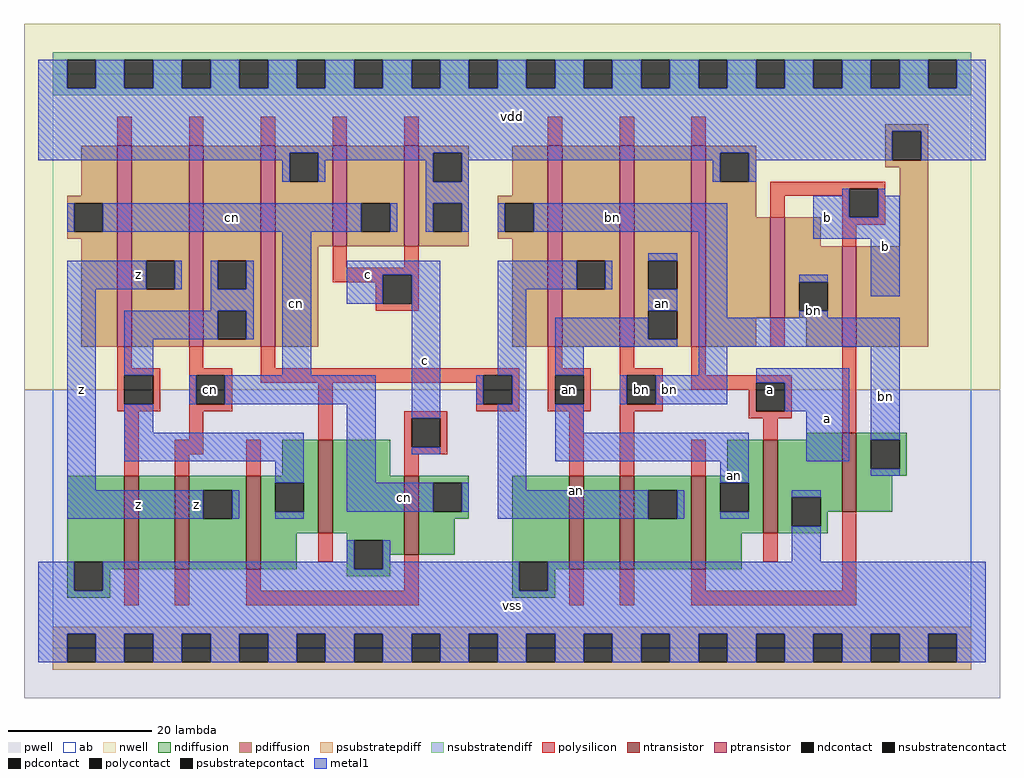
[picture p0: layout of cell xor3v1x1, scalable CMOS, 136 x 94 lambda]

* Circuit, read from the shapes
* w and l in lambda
.subckt xor3v1x1 a an b bn c cn vdd vss z
M1 n1 n2 vss vss nfet w=13 l=2
M2 z cn n1 vss nfet w=13 l=2
M3 n2 c z vss nfet w=13 l=2
M4 vss n3 n2 vss nfet w=13 l=2
M5 cn c vss vss nfet w=11 l=2
M6 n4 an vss vss nfet w=13 l=2
M7 n3 bn n4 vss nfet w=13 l=2
M8 an b n3 vss nfet w=13 l=2
M9 vss a an vss nfet w=13 l=2
M10 bn b vss vss nfet w=11 l=2
M11 z n2 cn vdd pfet w=28 l=2
M12 n2 cn z vdd pfet w=28 l=2
M13 vdd n3 n2 vdd pfet w=28 l=2
M14 cn c vdd vdd pfet w=14 l=2 m=2
M15 n3 an bn vdd pfet w=28 l=2
M16 an bn n3 vdd pfet w=28 l=2
M17 vdd a an vdd pfet w=28 l=2
M18 bn b vdd vdd pfet w=14 l=2 m=2
.ends

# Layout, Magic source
magic
tech scmos
<< ab >>
rect 0 0 128 80
<< pwell >>
rect -4 -7 132 36
<< nwell >>
rect -4 36 132 87
<< polysilicon >>
rect 9 70 11 74
rect 19 70 21 74
rect 29 70 31 74
rect 39 70 41 74
rect 49 70 51 74
rect 69 70 71 74
rect 79 70 81 74
rect 89 70 91 74
rect 39 53 41 56
rect 49 53 51 56
rect 39 52 51 53
rect 39 51 46 52
rect 45 48 46 51
rect 50 48 51 52
rect 45 47 51 48
rect 100 64 116 65
rect 100 63 111 64
rect 100 60 102 63
rect 110 60 111 63
rect 115 60 116 64
rect 110 59 116 60
rect 110 56 112 59
rect 100 42 102 46
rect 9 39 11 42
rect 19 39 21 42
rect 29 39 31 42
rect 69 39 71 42
rect 79 39 81 42
rect 9 38 15 39
rect 9 34 10 38
rect 14 34 15 38
rect 9 33 15 34
rect 19 38 25 39
rect 19 34 20 38
rect 24 34 25 38
rect 29 38 65 39
rect 29 37 60 38
rect 19 33 25 34
rect 10 24 12 33
rect 19 29 21 33
rect 37 29 39 37
rect 59 34 60 37
rect 64 34 65 38
rect 59 33 65 34
rect 69 38 75 39
rect 69 34 70 38
rect 74 34 75 38
rect 69 33 75 34
rect 79 38 85 39
rect 79 34 80 38
rect 84 34 85 38
rect 89 38 91 42
rect 89 37 103 38
rect 89 36 98 37
rect 79 33 85 34
rect 97 33 98 36
rect 102 33 103 37
rect 49 32 55 33
rect 17 27 21 29
rect 17 24 19 27
rect 27 24 29 29
rect 49 28 50 32
rect 54 28 55 32
rect 49 27 55 28
rect 49 24 51 27
rect 72 24 74 33
rect 79 24 81 33
rect 97 32 103 33
rect 99 29 101 32
rect 110 30 112 42
rect 89 24 91 29
rect 37 12 39 16
rect 10 6 12 11
rect 17 6 19 11
rect 27 8 29 11
rect 49 8 51 13
rect 27 6 51 8
rect 99 12 101 16
rect 72 6 74 11
rect 79 6 81 11
rect 89 8 91 11
rect 110 8 112 19
rect 89 6 112 8
<< ndiffusion >>
rect 32 24 37 29
rect 2 12 10 24
rect 2 8 3 12
rect 7 11 10 12
rect 12 11 17 24
rect 19 22 27 24
rect 19 18 21 22
rect 25 18 27 22
rect 19 11 27 18
rect 29 23 37 24
rect 29 19 31 23
rect 35 19 37 23
rect 29 16 37 19
rect 39 24 47 29
rect 105 29 110 30
rect 94 24 99 29
rect 39 16 49 24
rect 29 11 34 16
rect 41 15 49 16
rect 41 11 42 15
rect 46 13 49 15
rect 51 23 58 24
rect 51 19 53 23
rect 57 19 58 23
rect 51 18 58 19
rect 51 13 56 18
rect 46 11 47 13
rect 7 8 8 11
rect 2 7 8 8
rect 41 10 47 11
rect 64 12 72 24
rect 64 8 65 12
rect 69 11 72 12
rect 74 11 79 24
rect 81 22 89 24
rect 81 18 83 22
rect 87 18 89 22
rect 81 11 89 18
rect 91 23 99 24
rect 91 19 93 23
rect 97 19 99 23
rect 91 16 99 19
rect 101 21 110 29
rect 101 17 103 21
rect 107 19 110 21
rect 112 29 119 30
rect 112 25 114 29
rect 118 25 119 29
rect 112 24 119 25
rect 112 19 117 24
rect 107 17 108 19
rect 101 16 108 17
rect 91 11 96 16
rect 69 8 70 11
rect 64 7 70 8
<< pdiffusion >>
rect 116 72 122 73
rect 4 63 9 70
rect 2 62 9 63
rect 2 58 3 62
rect 7 58 9 62
rect 2 57 9 58
rect 4 42 9 57
rect 11 54 19 70
rect 11 50 13 54
rect 17 50 19 54
rect 11 42 19 50
rect 21 54 29 70
rect 21 50 23 54
rect 27 50 29 54
rect 21 47 29 50
rect 21 43 23 47
rect 27 43 29 47
rect 21 42 29 43
rect 31 69 39 70
rect 31 65 33 69
rect 37 65 39 69
rect 31 56 39 65
rect 41 62 49 70
rect 41 58 43 62
rect 47 58 49 62
rect 41 56 49 58
rect 51 69 58 70
rect 51 65 53 69
rect 57 65 58 69
rect 51 62 58 65
rect 64 63 69 70
rect 51 58 53 62
rect 57 58 58 62
rect 51 56 58 58
rect 62 62 69 63
rect 62 58 63 62
rect 67 58 69 62
rect 62 57 69 58
rect 31 42 37 56
rect 64 42 69 57
rect 71 54 79 70
rect 71 50 73 54
rect 77 50 79 54
rect 71 42 79 50
rect 81 54 89 70
rect 81 50 83 54
rect 87 50 89 54
rect 81 47 89 50
rect 81 43 83 47
rect 87 43 89 47
rect 81 42 89 43
rect 91 69 98 70
rect 91 65 93 69
rect 97 65 98 69
rect 116 68 117 72
rect 121 68 122 72
rect 116 67 122 68
rect 91 60 98 65
rect 91 46 100 60
rect 102 56 107 60
rect 118 56 122 67
rect 102 51 110 56
rect 102 47 104 51
rect 108 47 110 51
rect 102 46 110 47
rect 91 42 98 46
rect 105 42 110 46
rect 112 42 122 56
<< metal1 >>
rect -2 78 2 82
rect 6 78 10 82
rect 14 78 18 82
rect 22 78 26 82
rect 30 78 34 82
rect 38 78 42 82
rect 46 78 50 82
rect 54 78 58 82
rect 62 78 66 82
rect 70 78 74 82
rect 78 78 82 82
rect 86 78 90 82
rect 94 78 98 82
rect 102 78 106 82
rect 110 78 114 82
rect 118 78 122 82
rect 126 78 130 82
rect -2 72 130 78
rect -2 69 117 72
rect -2 68 33 69
rect 32 65 33 68
rect 37 68 53 69
rect 37 65 38 68
rect 52 65 53 68
rect 57 68 93 69
rect 57 65 58 68
rect 92 65 93 68
rect 97 68 117 69
rect 121 68 130 72
rect 97 65 98 68
rect 52 62 58 65
rect 110 63 111 64
rect 2 58 3 62
rect 7 58 43 62
rect 47 58 48 62
rect 52 58 53 62
rect 57 58 58 62
rect 62 58 63 62
rect 67 58 94 62
rect 2 50 13 54
rect 17 50 18 54
rect 22 50 23 54
rect 27 50 28 54
rect 2 22 6 50
rect 22 47 28 50
rect 10 43 23 47
rect 27 43 28 47
rect 10 38 14 43
rect 32 38 36 58
rect 83 54 87 55
rect 41 52 54 54
rect 41 48 46 52
rect 19 34 20 38
rect 24 34 45 38
rect 10 30 14 34
rect 10 26 35 30
rect 31 23 35 26
rect 2 18 21 22
rect 25 18 26 22
rect 41 23 45 34
rect 50 32 54 52
rect 62 50 73 54
rect 77 50 78 54
rect 62 38 66 50
rect 83 47 87 50
rect 59 34 60 38
rect 64 34 66 38
rect 50 27 54 28
rect 41 19 53 23
rect 57 19 58 23
rect 62 22 66 34
rect 70 43 83 46
rect 70 42 87 43
rect 90 46 94 58
rect 106 60 111 63
rect 115 63 116 64
rect 115 60 118 63
rect 106 57 118 60
rect 104 51 108 52
rect 114 49 118 57
rect 104 46 108 47
rect 90 42 118 46
rect 70 38 74 42
rect 90 38 94 42
rect 79 34 80 38
rect 84 34 94 38
rect 98 37 111 39
rect 70 30 74 34
rect 102 33 111 37
rect 70 26 97 30
rect 105 26 111 33
rect 114 29 118 42
rect 93 23 97 26
rect 114 24 118 25
rect 31 18 35 19
rect 62 18 83 22
rect 87 18 88 22
rect 93 18 97 19
rect 103 21 107 22
rect 41 12 42 15
rect -2 8 3 12
rect 7 11 42 12
rect 46 12 47 15
rect 103 12 107 17
rect 46 11 65 12
rect 7 8 65 11
rect 69 8 130 12
rect -2 2 130 8
rect -2 -2 2 2
rect 6 -2 10 2
rect 14 -2 18 2
rect 22 -2 26 2
rect 30 -2 34 2
rect 38 -2 42 2
rect 46 -2 50 2
rect 54 -2 58 2
rect 62 -2 66 2
rect 70 -2 74 2
rect 78 -2 82 2
rect 86 -2 90 2
rect 94 -2 98 2
rect 102 -2 106 2
rect 110 -2 114 2
rect 118 -2 122 2
rect 126 -2 130 2
<< ntransistor >>
rect 10 11 12 24
rect 17 11 19 24
rect 27 11 29 24
rect 37 16 39 29
rect 49 13 51 24
rect 72 11 74 24
rect 79 11 81 24
rect 89 11 91 24
rect 99 16 101 29
rect 110 19 112 30
<< ptransistor >>
rect 9 42 11 70
rect 19 42 21 70
rect 29 42 31 70
rect 39 56 41 70
rect 49 56 51 70
rect 69 42 71 70
rect 79 42 81 70
rect 89 42 91 70
rect 100 46 102 60
rect 110 42 112 56
<< polycontact >>
rect 46 48 50 52
rect 111 60 115 64
rect 10 34 14 38
rect 20 34 24 38
rect 60 34 64 38
rect 70 34 74 38
rect 80 34 84 38
rect 98 33 102 37
rect 50 28 54 32
<< ndcontact >>
rect 3 8 7 12
rect 21 18 25 22
rect 31 19 35 23
rect 42 11 46 15
rect 53 19 57 23
rect 65 8 69 12
rect 83 18 87 22
rect 93 19 97 23
rect 103 17 107 21
rect 114 25 118 29
<< pdcontact >>
rect 3 58 7 62
rect 13 50 17 54
rect 23 50 27 54
rect 23 43 27 47
rect 33 65 37 69
rect 43 58 47 62
rect 53 65 57 69
rect 53 58 57 62
rect 63 58 67 62
rect 73 50 77 54
rect 83 50 87 54
rect 83 43 87 47
rect 93 65 97 69
rect 117 68 121 72
rect 104 47 108 51
<< psubstratepcontact >>
rect 2 -2 6 2
rect 10 -2 14 2
rect 18 -2 22 2
rect 26 -2 30 2
rect 34 -2 38 2
rect 42 -2 46 2
rect 50 -2 54 2
rect 58 -2 62 2
rect 66 -2 70 2
rect 74 -2 78 2
rect 82 -2 86 2
rect 90 -2 94 2
rect 98 -2 102 2
rect 106 -2 110 2
rect 114 -2 118 2
rect 122 -2 126 2
<< nsubstratencontact >>
rect 2 78 6 82
rect 10 78 14 82
rect 18 78 22 82
rect 26 78 30 82
rect 34 78 38 82
rect 42 78 46 82
rect 50 78 54 82
rect 58 78 62 82
rect 66 78 70 82
rect 74 78 78 82
rect 82 78 86 82
rect 90 78 94 82
rect 98 78 102 82
rect 106 78 110 82
rect 114 78 118 82
rect 122 78 126 82
<< psubstratepdiff >>
rect 0 2 128 3
rect 0 -2 2 2
rect 6 -2 10 2
rect 14 -2 18 2
rect 22 -2 26 2
rect 30 -2 34 2
rect 38 -2 42 2
rect 46 -2 50 2
rect 54 -2 58 2
rect 62 -2 66 2
rect 70 -2 74 2
rect 78 -2 82 2
rect 86 -2 90 2
rect 94 -2 98 2
rect 102 -2 106 2
rect 110 -2 114 2
rect 118 -2 122 2
rect 126 -2 128 2
rect 0 -3 128 -2
<< nsubstratendiff >>
rect 0 82 128 83
rect 0 78 2 82
rect 6 78 10 82
rect 14 78 18 82
rect 22 78 26 82
rect 30 78 34 82
rect 38 78 42 82
rect 46 78 50 82
rect 54 78 58 82
rect 62 78 66 82
rect 70 78 74 82
rect 78 78 82 82
rect 86 78 90 82
rect 94 78 98 82
rect 102 78 106 82
rect 110 78 114 82
rect 118 78 122 82
rect 126 78 128 82
rect 0 77 128 78
<< labels >>
rlabel polycontact 22 36 22 36 6 cn
rlabel ntransistor 73 22 73 22 6 an
rlabel polycontact 82 36 82 36 6 bn
rlabel metal1 20 20 20 20 6 z
rlabel metal1 12 20 12 20 6 z
rlabel metal1 4 36 4 36 6 z
rlabel metal1 12 52 12 52 6 z
rlabel metal1 44 52 44 52 6 c
rlabel metal1 34 48 34 48 6 cn
rlabel metal1 25 60 25 60 6 cn
rlabel metal1 64 6 64 6 6 vss
rlabel metal1 49 21 49 21 6 cn
rlabel polycontact 72 36 72 36 6 an
rlabel metal1 52 40 52 40 6 c
rlabel metal1 64 74 64 74 6 vdd
rlabel metal1 95 24 95 24 6 an
rlabel metal1 86 36 86 36 6 bn
rlabel polycontact 100 36 100 36 6 a
rlabel metal1 85 48 85 48 6 an
rlabel metal1 78 60 78 60 6 bn
rlabel metal1 108 32 108 32 6 a
rlabel metal1 116 35 116 35 6 bn
rlabel metal1 106 47 106 47 6 bn
rlabel metal1 116 56 116 56 6 b
rlabel metal1 108 60 108 60 6 b
<< end >>
